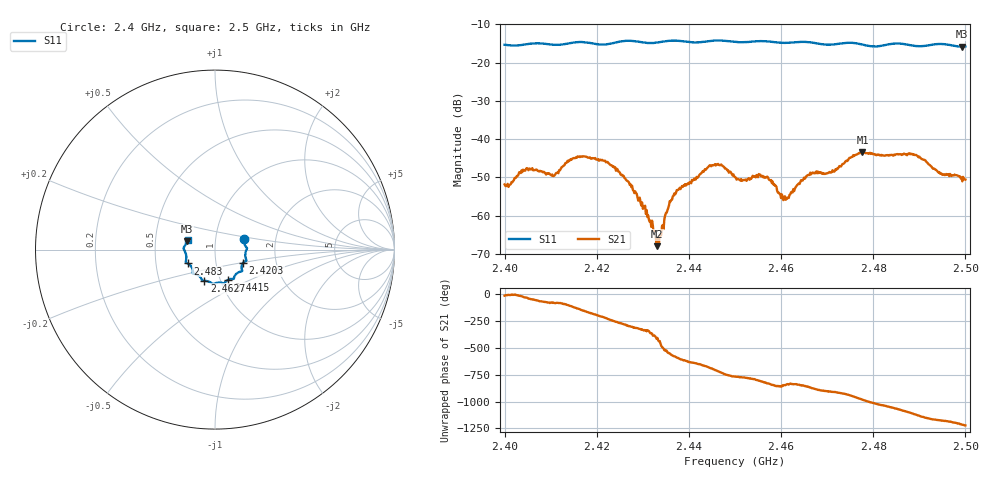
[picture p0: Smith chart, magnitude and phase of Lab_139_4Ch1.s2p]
# Hz S RI R 50
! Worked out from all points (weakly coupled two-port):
!   601 points, 2.4 GHz to 2.5 GHz, reference 50 ohm
!   highest |S21| = -43.42 dB at 2.4777 GHz (marker M1); lowest = -68.0 dB at 2.433 GHz (marker M2)
!   lowest |S11| = -15.8 dB at 2.4993 GHz (marker M3), VSWR 1.38, Z = 36.5 + j3.54 ohm
!   |S11| at or under -10 dB: start of sweep to end of sweep
!   S12 and S22 are empty: the file has one direction only
!   S11 on the Smith chart (normalised r, x): 2.4 GHz: 1.37, +0.17; 2.4203 GHz: 1.35, -0.20; 2.4415 GHz: 1.09, -0.38; 2.4627 GHz: 0.84, -0.30; 2.483 GHz: 0.73, -0.12; 2.5 GHz: 0.73, +0.08
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2.4e9  0.1606 0.0587  0.00249 -0.000597  0 0  0 0
2.4045e9  0.1719 0.0161  0.00336 -0.00195  0 0  0 0
2.410667e9  0.1701 -0.0151  0.000552 -0.00327  0 0  0 0
2.416667e9  0.1753 -0.061  -0.00497 -0.00322  0 0  0 0
2.420333e9  0.1568 -0.0731  -0.00517 0.00184  0 0  0 0
2.427167e9  0.1508 -0.12  0.00114 0.00225  0 0  0 0
2.433e9  0.1107 -0.1445  0.000225 -0.00033  0 0  0 0
2.433333e9  0.1093 -0.1471  0.000173 -0.000484  0 0  0 0
2.436333e9  0.1049 -0.1625  -0.00144 0.000749  0 0  0 0
2.4415e9  0.0745 -0.1675  0.000663 0.00289  0 0  0 0
2.446e9  0.0507 -0.1876  0.0046 0.000828  0 0  0 0
2.45e9  0.0309 -0.1835  0.00218 -0.00234  0 0  0 0
2.456833e9  -0.0147 -0.1892  -0.000873 -0.00309  0 0  0 0
2.460833e9  -0.044 -0.1753  -0.00107 -0.00144  0 0  0 0
2.462667e9  -0.0597 -0.1738  -0.00104 -0.00198  0 0  0 0
2.466667e9  -0.0737 -0.1674  -0.00325 -0.00155  0 0  0 0
2.477667e9  -0.1237 -0.1195  -0.000937 0.00668  0 0  0 0
2.483e9  -0.1531 -0.0774  0.00499 0.00363  0 0  0 0
2.483333e9  -0.1552 -0.0764  0.0051 0.00335  0 0  0 0
2.488833e9  -0.1596 -0.045  0.0051 -0.00371  0 0  0 0
2.499333e9  -0.1542 0.0472  -0.00197 -0.00201  0 0  0 0
2.5e9  -0.1524 0.0561  -0.0023 -0.00186  0 0  0 0
